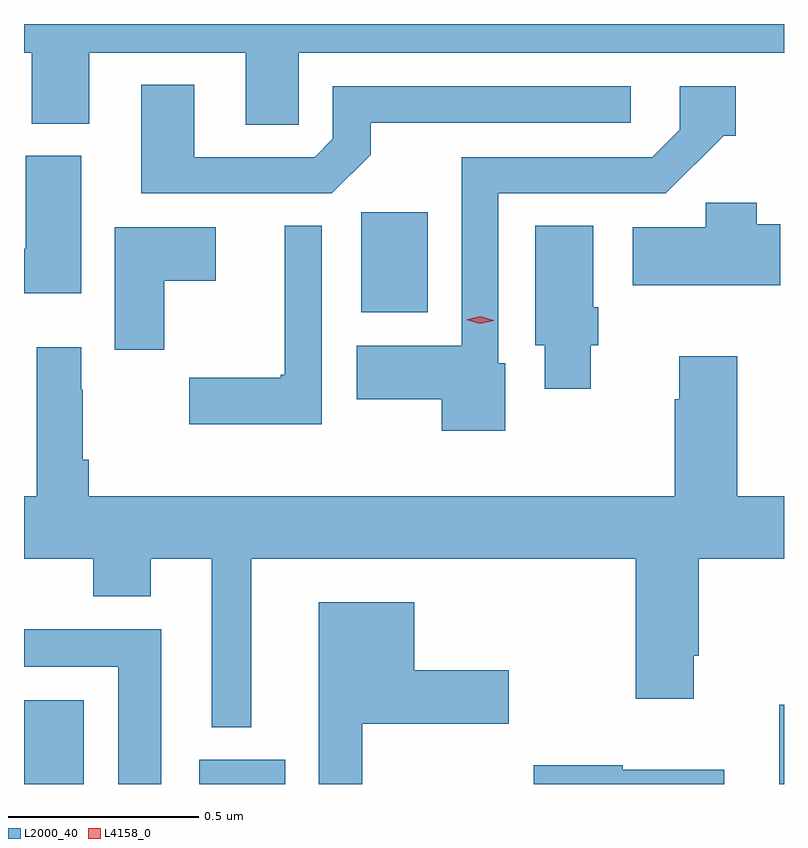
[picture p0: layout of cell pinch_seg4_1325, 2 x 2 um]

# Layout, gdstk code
import gdstk
lib = gdstk.Library(unit=1e-6, precision=1e-09)
def R(c, l, rs):  # rectangles x0, y0, x1, y1
    for r in rs: c.add(gdstk.rectangle(r[:2], r[2:], *l))
def P(c, l, *ps):  # polygons
    for p in ps: c.add(gdstk.Polygon(p, *l))
L2000_40 = (2000, 40)
L4158_0 = (4158, 0)

pinch_seg4_1325 = lib.new_cell('pinch_seg4_1325')
R(pinch_seg4_1325, L2000_40, [(364.923,774.915,365.08,775.135), (365.384,774.915,365.611,774.979), (366.911,774.915,366.923,775.123), (365.81,776.156,365.986,776.42)])
P(pinch_seg4_1325, L2000_40, [(365.646,776.84),(366.923,776.84),(366.923,776.915),(364.923,776.915),(364.923,776.84),(364.943,776.84),(364.943,776.653),(365.095,776.653),(365.095,776.84),(365.507,776.84),(365.507,776.65),(365.646,776.65)],
  [(365.835,776.571),(365.835,776.655),(366.52,776.655),(366.52,776.751),(365.736,776.751),(365.736,776.613),(365.688,776.565),(365.371,776.565),(365.371,776.755),(365.231,776.755),(365.231,776.469),(365.733,776.469)],
  [(366.19,776.022),(366.171,776.022),(366.171,776.469),(366.612,776.469),(366.764,776.621),(366.796,776.621),(366.796,776.751),(366.648,776.751),(366.648,776.637),(366.576,776.565),(366.075,776.565),(366.075,776.068),(365.799,776.068),(365.799,775.928),(366.022,775.928),(366.022,775.844),(366.19,775.844)],
  [(365.074,776.568),(364.928,776.568),(364.928,776.324),(364.923,776.324),(364.923,776.207),(365.074,776.207)],
  [(366.913,776.388),(366.851,776.388),(366.851,776.445),(366.717,776.445),(366.717,776.38),(366.525,776.38),(366.525,776.228),(366.913,776.228)],
  [(365.706,776.384),(365.609,776.384),(365.609,775.992),(365.598,775.992),(365.598,775.984),(365.358,775.984),(365.358,775.862),(365.706,775.862)],
  [(366.415,776.07),(366.434,776.07),(366.434,776.17),(366.421,776.17),(366.421,776.384),(366.269,776.384),(366.269,776.07),(366.293,776.07),(366.293,775.955),(366.415,775.955)],
  [(365.292,776.24),(365.428,776.24),(365.428,776.38),(365.162,776.38),(365.162,776.058),(365.292,776.058)],
  [(366.647,775.928),(366.635,775.928),(366.635,775.672),(365.093,775.672),(365.093,775.768),(365.078,775.768),(365.078,775.952),(365.073,775.952),(365.073,776.065),(364.957,776.065),(364.957,775.672),(364.923,775.672),(364.923,775.508),(365.105,775.508),(365.105,775.409),(365.257,775.409),(365.257,775.508),(365.417,775.508),(365.417,775.064),(365.521,775.064),(365.521,775.508),(366.533,775.508),(366.533,775.14),(366.685,775.14),(366.685,775.252),(366.698,775.252),(366.698,775.508),(366.923,775.508),(366.923,775.672),(366.8,775.672),(366.8,776.041),(366.647,776.041)],
  [(365.813,775.073),(366.199,775.073),(366.199,775.215),(365.95,775.215),(365.95,775.393),(365.699,775.393),(365.699,774.915),(365.813,774.915)],
  [(365.284,775.322),(364.923,775.322),(364.923,775.224),(365.171,775.224),(365.171,774.915),(365.284,774.915)],
  [(366.766,774.952),(366.498,774.952),(366.498,774.965),(366.264,774.965),(366.264,774.915),(366.766,774.915)])
P(pinch_seg4_1325, L4158_0, [(366.122,776.126),(366.087,776.137),(366.087,776.137),(366.087,776.137),(366.123,776.146),(366.159,776.135),(366.159,776.134),(366.159,776.134)])

lib.write_gds('pinch_seg4_1325.gds')
